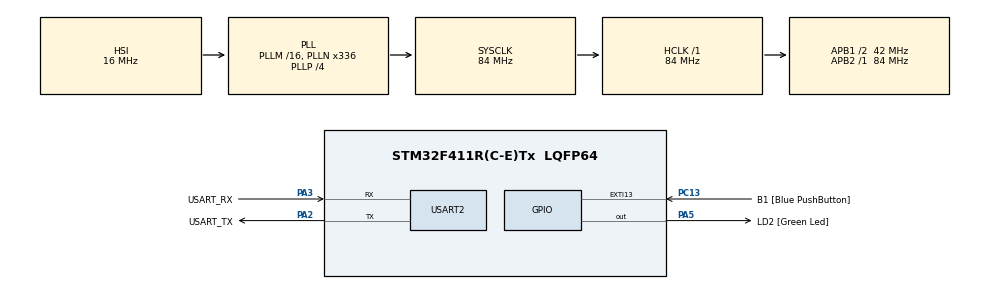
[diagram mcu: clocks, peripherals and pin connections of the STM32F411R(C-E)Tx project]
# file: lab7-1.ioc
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Dma.MEMTOMEM.0.Direction=DMA_MEMORY_TO_MEMORY
Dma.MEMTOMEM.0.FIFOMode=DMA_FIFOMODE_ENABLE
Dma.MEMTOMEM.0.FIFOThreshold=DMA_FIFO_THRESHOLD_FULL
Dma.MEMTOMEM.0.Instance=DMA2_Stream0
Dma.MEMTOMEM.0.MemBurst=DMA_MBURST_SINGLE
Dma.MEMTOMEM.0.MemDataAlignment=DMA_MDATAALIGN_BYTE
Dma.MEMTOMEM.0.MemInc=DMA_MINC_ENABLE
Dma.MEMTOMEM.0.Mode=DMA_NORMAL
Dma.MEMTOMEM.0.PeriphBurst=DMA_PBURST_SINGLE
Dma.MEMTOMEM.0.PeriphDataAlignment=DMA_PDATAALIGN_BYTE
Dma.MEMTOMEM.0.PeriphInc=DMA_PINC_ENABLE
Dma.MEMTOMEM.0.Priority=DMA_PRIORITY_LOW
Dma.Request0=MEMTOMEM
Mcu.Family=STM32F4
Mcu.Name=STM32F411R(C-E)Tx
Mcu.Package=LQFP64
NVIC.PriorityGroup=NVIC_PRIORITYGROUP_0
PA13.GPIO_Label=TMS
PA13.Mode=Serial_Wire
PA13.Signal=SYS_JTMS-SWDIO
PA14.GPIO_Label=TCK
PA14.Mode=Serial_Wire
PA14.Signal=SYS_JTCK-SWCLK
PA2.GPIO_Label=USART_TX
PA2.Mode=Asynchronous
PA2.Signal=USART2_TX
PA3.GPIO_Label=USART_RX
PA3.Mode=Asynchronous
PA3.Signal=USART2_RX
PA5.GPIO_Label=LD2 [Green Led]
PA5.Signal=GPIO_Output
PB3.GPIO_Label=SWO
PB3.Signal=SYS_JTDO-SWO
PC13-ANTI_TAMP.GPIO_Label=B1 [Blue PushButton]
PC13-ANTI_TAMP.GPIO_ModeDefaultEXTI=GPIO_MODE_IT_FALLING
PC13-ANTI_TAMP.Signal=GPXTI13
PC14-OSC32_IN.Mode=LSE-External-Oscillator
PC14-OSC32_IN.Signal=RCC_OSC32_IN
PC15-OSC32_OUT.Mode=LSE-External-Oscillator
PC15-OSC32_OUT.Signal=RCC_OSC32_OUT
PH0\ -\ OSC_IN.Mode=HSE-External-Clock-Source
PH0\ -\ OSC_IN.Signal=RCC_OSC_IN
PH1\ -\ OSC_OUT.Mode=HSE-External-Clock-Source
PH1\ -\ OSC_OUT.Signal=RCC_OSC_OUT
ProjectManager.HeapSize=0x200
ProjectManager.StackSize=0x400
ProjectManager.TargetToolchain=STM32CubeIDE
RCC.48MHZClocksFreq_Value=84000000
RCC.AHBFreq_Value=84000000
RCC.APB1CLKDivider=RCC_HCLK_DIV2
RCC.APB1Freq_Value=42000000
RCC.APB1TimFreq_Value=84000000
RCC.APB2Freq_Value=84000000
RCC.APB2TimFreq_Value=84000000
RCC.CortexFreq_Value=84000000
RCC.FLatency-AdvancedSettings=FLASH_LATENCY_2
RCC.HCLKFreq_Value=84000000
RCC.HSE_VALUE=8000000
RCC.HSI_VALUE=16000000
RCC.PLLN=336
RCC.PLLP=RCC_PLLP_DIV4
RCC.SYSCLKFreq_VALUE=84000000
RCC.SYSCLKSource=RCC_SYSCLKSOURCE_PLLCLK
RCC.VCOOutputFreq_Value=336000000
USART2.VirtualMode=VM_ASYNC
board=NUCLEO-F411RE

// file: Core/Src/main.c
/* USER CODE BEGIN Header */
/**
  ******************************************************************************
  * @file           : main.c
  * @brief          : Main program body
  ******************************************************************************
  * @attention
  *
  * Copyright (c) 2026 STMicroelectronics.
  * All rights reserved.
  *
  * This software is licensed under terms that can be found in the LICENSE file
  * in the root directory of this software component.
  * If no LICENSE file comes with this software, it is provided AS-IS.
  *
  ******************************************************************************
  */
/* USER CODE END Header */
#include "main.h"

UART_HandleTypeDef huart2;

DMA_HandleTypeDef hdma_memtomem_dma2_stream0;
/* USER CODE BEGIN PV */
uint8_t arr0[255];
uint8_t arr1[255];

volatile uint8_t copy_done = 0;
/* USER CODE END PV */

void SystemClock_Config(void);
static void MX_GPIO_Init(void);
static void MX_DMA_Init(void);
static void MX_USART2_UART_Init(void);

int main(void)
{

  /* MCU Configuration--------------------------------------------------------*/

  /* Reset of all peripherals, Initializes the Flash interface and the Systick. */
  HAL_Init();

  /* Configure the system clock */
  SystemClock_Config();

  /* Initialize all configured peripherals */
  MX_GPIO_Init();
  MX_DMA_Init();
  MX_USART2_UART_Init();
  /* USER CODE BEGIN 2 */
  for (uint32_t i = 0; i < sizeof(arr0); i++)
  {
      arr0[i] = ((i + 55U) * 37U) % 57U;
      arr1[i] = 0;
  }
  /* USER CODE END 2 */

  /* Infinite loop */
  while (1)
  {

    /* USER CODE BEGIN 3 */
	  if (HAL_GPIO_ReadPin(B1_GPIO_Port, B1_Pin) == GPIO_PIN_RESET)
	  {
	      HAL_Delay(20);  // Debounce

	      if (HAL_GPIO_ReadPin(B1_GPIO_Port, B1_Pin) == GPIO_PIN_RESET)
	      {
	          copy_done = 0;

	          if (HAL_DMA_Start(&hdma_memtomem_dma2_stream0,
	                            (uint32_t)arr0,
	                            (uint32_t)arr1,
	                            sizeof(arr0)) != HAL_OK)
	          {
	              Error_Handler();
	          }

	          if (HAL_DMA_PollForTransfer(&hdma_memtomem_dma2_stream0,
	                                     HAL_DMA_FULL_TRANSFER,
	                                     100) != HAL_OK)
	          {
	              Error_Handler();
	          }

	          copy_done = 1;

	          // Wait until the button is released
	          while (HAL_GPIO_ReadPin(B1_GPIO_Port, B1_Pin)== GPIO_PIN_RESET) {}
	      }
	  }
  }
  /* USER CODE END 3 */
}

void SystemClock_Config(void)
{
  RCC_OscInitTypeDef RCC_OscInitStruct = {0};
  RCC_ClkInitTypeDef RCC_ClkInitStruct = {0};

  /** Configure the main internal regulator output voltage
  */
  __HAL_RCC_PWR_CLK_ENABLE();
  __HAL_PWR_VOLTAGESCALING_CONFIG(PWR_REGULATOR_VOLTAGE_SCALE1);

  /** Initializes the RCC Oscillators according to the specified parameters
  * in the RCC_OscInitTypeDef structure.
  */
  RCC_OscInitStruct.OscillatorType = RCC_OSCILLATORTYPE_HSI;
  RCC_OscInitStruct.HSIState = RCC_HSI_ON;
  RCC_OscInitStruct.HSICalibrationValue = RCC_HSICALIBRATION_DEFAULT;
  RCC_OscInitStruct.PLL.PLLState = RCC_PLL_ON;
  RCC_OscInitStruct.PLL.PLLSource = RCC_PLLSOURCE_HSI;
  RCC_OscInitStruct.PLL.PLLM = 16;
  RCC_OscInitStruct.PLL.PLLN = 336;
  RCC_OscInitStruct.PLL.PLLP = RCC_PLLP_DIV4;
  RCC_OscInitStruct.PLL.PLLQ = 4;
  if (HAL_RCC_OscConfig(&RCC_OscInitStruct) != HAL_OK)
  {
    Error_Handler();
  }

  /** Initializes the CPU, AHB and APB buses clocks
  */
  RCC_ClkInitStruct.ClockType = RCC_CLOCKTYPE_HCLK|RCC_CLOCKTYPE_SYSCLK
                              |RCC_CLOCKTYPE_PCLK1|RCC_CLOCKTYPE_PCLK2;
  RCC_ClkInitStruct.SYSCLKSource = RCC_SYSCLKSOURCE_PLLCLK;
  RCC_ClkInitStruct.AHBCLKDivider = RCC_SYSCLK_DIV1;
  RCC_ClkInitStruct.APB1CLKDivider = RCC_HCLK_DIV2;
  RCC_ClkInitStruct.APB2CLKDivider = RCC_HCLK_DIV1;

  if (HAL_RCC_ClockConfig(&RCC_ClkInitStruct, FLASH_LATENCY_2) != HAL_OK)
  {
    Error_Handler();
  }
}

static void MX_USART2_UART_Init(void)
{

  huart2.Instance = USART2;
  huart2.Init.BaudRate = 115200;
  huart2.Init.WordLength = UART_WORDLENGTH_8B;
  huart2.Init.StopBits = UART_STOPBITS_1;
  huart2.Init.Parity = UART_PARITY_NONE;
  huart2.Init.Mode = UART_MODE_TX_RX;
  huart2.Init.HwFlowCtl = UART_HWCONTROL_NONE;
  huart2.Init.OverSampling = UART_OVERSAMPLING_16;
  if (HAL_UART_Init(&huart2) != HAL_OK)
  {
    Error_Handler();
  }

}

static void MX_DMA_Init(void)
{

  /* DMA controller clock enable */
  __HAL_RCC_DMA2_CLK_ENABLE();

  /* Configure DMA request hdma_memtomem_dma2_stream0 on DMA2_Stream0 */
  hdma_memtomem_dma2_stream0.Instance = DMA2_Stream0;
  hdma_memtomem_dma2_stream0.Init.Channel = DMA_CHANNEL_0;
  hdma_memtomem_dma2_stream0.Init.Direction = DMA_MEMORY_TO_MEMORY;
  hdma_memtomem_dma2_stream0.Init.PeriphInc = DMA_PINC_ENABLE;
  hdma_memtomem_dma2_stream0.Init.MemInc = DMA_MINC_ENABLE;
  hdma_memtomem_dma2_stream0.Init.PeriphDataAlignment = DMA_PDATAALIGN_BYTE;
  hdma_memtomem_dma2_stream0.Init.MemDataAlignment = DMA_MDATAALIGN_BYTE;
  hdma_memtomem_dma2_stream0.Init.Mode = DMA_NORMAL;
  hdma_memtomem_dma2_stream0.Init.Priority = DMA_PRIORITY_LOW;
  hdma_memtomem_dma2_stream0.Init.FIFOMode = DMA_FIFOMODE_ENABLE;
  hdma_memtomem_dma2_stream0.Init.FIFOThreshold = DMA_FIFO_THRESHOLD_FULL;
  hdma_memtomem_dma2_stream0.Init.MemBurst = DMA_MBURST_SINGLE;
  hdma_memtomem_dma2_stream0.Init.PeriphBurst = DMA_PBURST_SINGLE;
  if (HAL_DMA_Init(&hdma_memtomem_dma2_stream0) != HAL_OK)
  {
    Error_Handler( );
  }

}

static void MX_GPIO_Init(void)
{
  GPIO_InitTypeDef GPIO_InitStruct = {0};

  /* GPIO Ports Clock Enable */
  __HAL_RCC_GPIOC_CLK_ENABLE();
  __HAL_RCC_GPIOH_CLK_ENABLE();
  __HAL_RCC_GPIOA_CLK_ENABLE();
  __HAL_RCC_GPIOB_CLK_ENABLE();

  /*Configure GPIO pin Output Level */
  HAL_GPIO_WritePin(LD2_GPIO_Port, LD2_Pin, GPIO_PIN_RESET);

  /*Configure GPIO pin : B1_Pin */
  GPIO_InitStruct.Pin = B1_Pin;
  GPIO_InitStruct.Mode = GPIO_MODE_IT_FALLING;
  GPIO_InitStruct.Pull = GPIO_NOPULL;
  HAL_GPIO_Init(B1_GPIO_Port, &GPIO_InitStruct);

  /*Configure GPIO pin : LD2_Pin */
  GPIO_InitStruct.Pin = LD2_Pin;
  GPIO_InitStruct.Mode = GPIO_MODE_OUTPUT_PP;
  GPIO_InitStruct.Pull = GPIO_NOPULL;
  GPIO_InitStruct.Speed = GPIO_SPEED_FREQ_LOW;
  HAL_GPIO_Init(LD2_GPIO_Port, &GPIO_InitStruct);

}

void Error_Handler(void)
{
  __disable_irq();
  while (1)
  {
  }
}
